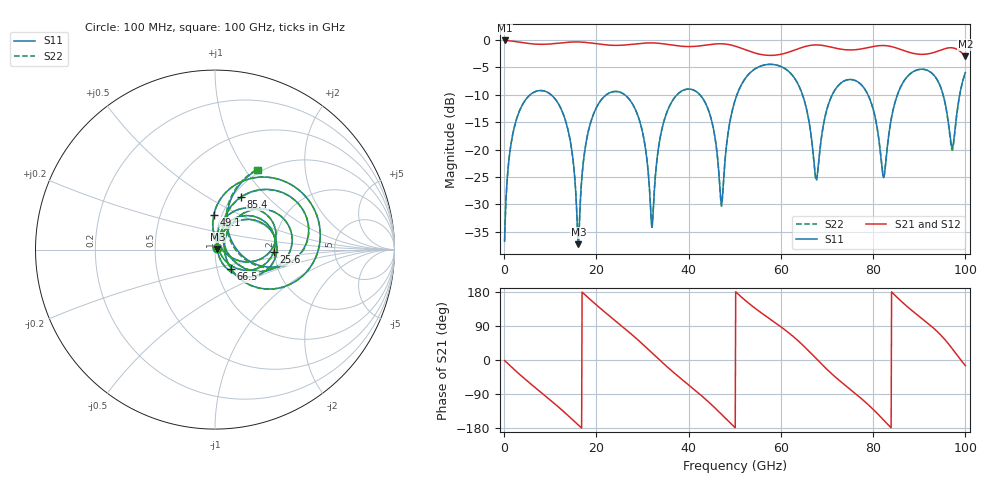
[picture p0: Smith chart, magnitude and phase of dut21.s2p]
! Touchstone file exported from HFSS 2026.1.0
!  File:  C:/ffzhzh/LocalFiles/Ansys_Project_Files/temp_train_TSV_RDL_21_1783614884_29156.aedt
!  Generated:  12:43:02 AM Jul 10, 2026
!  Design:  TSV_RDL
!  Project:  temp_train_TSV_RDL_21_1783614884_29156
! Variables:
!  h_bsmrdl = 4.45um
!  h_ox = 20um
!  h_rdl = 5um
!  h_sub = 68.56um
!  h_tmrdl = 3.92um
!  h_tsv = 68.56um
!  h_via = 3um
!  l_bsmrdl = 496.54um
!  l_sub = 3664.27um
!  l_tmrdl = 402.9um
!  m_sub = 200um
!  pitch = 44.83um
!  r_tsv = 10.36um
!  s_tmrdl = 10um
!  w_bsmrdl = 29.26um
!  w_sub = 500um
!  w_tmrdl = 25.09um
!  x_tsv_center1 = 415.445um
!  x_tsv_center2 = 941.245um
!  x_tsv_center3 = 1369.235um
!  x_tsv_center4 = 1895.035um
!  x_tsv_center5 = 2323.025um
!  x_tsv_center6 = 2848.825um
# GHz S MA R 50.000000
! Terminal data exported
! Port[1] = TM_RDL1_1_T1
! Port[2] = TM_RDL5_1_T1
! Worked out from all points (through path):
!   1000 points, 100 MHz to 100 GHz, reference 50 ohm
!   highest |S21| = -0.10 dB at 100 MHz (marker M1); lowest = -3.0 dB at 100 GHz (marker M2)
!   group delay of S21, straight-line fit = 29.8 ps
!   lowest |S11| = -37.3 dB at 16.1 GHz (marker M3), VSWR 1.03, Z = 51.3 + j0.325 ohm
!   |S11| at or under -10 dB: 10.17 GHz to 22.17 GHz (11.99 GHz wide, 74.2 % of centre); 26.13 GHz to 37.49 GHz (11.36 GHz wide, 35.7 % of centre); 42.44 GHz to 50.48 GHz (8.039 GHz wide, 17.3 % of centre) (the widest 3 of 7)
!   |S22| runs from -37.6 to -4.5 dB; largest |S21 - S12| = 1.6e-14
!   S11 on the Smith chart (normalised r, x): 100 MHz: 1.02, +0.02; 25.6 GHz: 1.97, -0.06; 49.1 GHz: 0.92, +0.37; 66.5 GHz: 1.17, -0.25; 85.4 GHz: 1.09, +0.72; 100 GHz: 0.96, +1.14
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0.1  0.01459 36.9  0.9885 -1.2  0.9885 -1.2  0.01459 36.9
! Gamma 0 0 0 0
! Port Impedance 50 0 50 0
2.4  0.1721 56.4  0.9666 -27.5  0.9666 -27.5  0.1721 56.4
7.8  0.3453 3.5  0.912 -83.5  0.912 -83.5  0.3453 3.5
13.4  0.1778 -50.5  0.9486 -141.5  0.9486 -141.5  0.1778 -50.6
16.1  0.01368 13.4  0.9578 -171.8  0.9578 -171.8  0.01314 13.2
16.8  0.05241 73.0  0.9551 -179.7  0.9551 -179.7  0.05216 73.6
25.6  0.3268 -2.4  0.8949 88.6  0.8949 88.6  0.3266 -2.2
32  0.01953 7.1  0.9393 19.4  0.9393 19.4  0.02063 8.2
33.4  0.0994 81.0  0.9325 3.5  0.9325 3.5  0.09981 80.3
42.1  0.3267 3.6  0.8787 -87.0  0.8787 -87.0  0.3268 3.4
47.1  0.03161 30.9  0.922 -143.1  0.922 -143.1  0.03037 30.5
49.1  0.1939 91.9  0.8998 -167.2  0.8998 -167.2  0.1936 92.2
50.1  0.2844 83.6  0.8767 -178.9  0.8767 -178.9  0.2842 83.8
59.3  0.5862 4.4  0.7305 93.7  0.7305 93.7  0.5861 4.3
66.5  0.1394 -49.8  0.8932 18.0  0.8932 18.0  0.1386 -50.5
66.7  0.1196 -48.1  0.8954 15.5  0.8954 15.5  0.1187 -48.9
75.5  0.4337 7.5  0.8105 -82.2  0.8105 -82.2  0.4337 7.7
83.4  0.1368 72.4  0.8789 -172.7  0.8789 -172.7  0.1381 71.5
85.4  0.3275 63.7  0.8342 162.9  0.8342 162.9  0.3282 63.2
94.2  0.4086 -11.1  0.7943 71.6  0.7943 71.6  0.4084 -11.8
97.1  0.1045 22.3  0.8475 30.6  0.8475 30.6  0.09887 21.6
100  0.5042 61.9  0.7066 -14.9  0.7066 -14.9  0.5027 62.4
